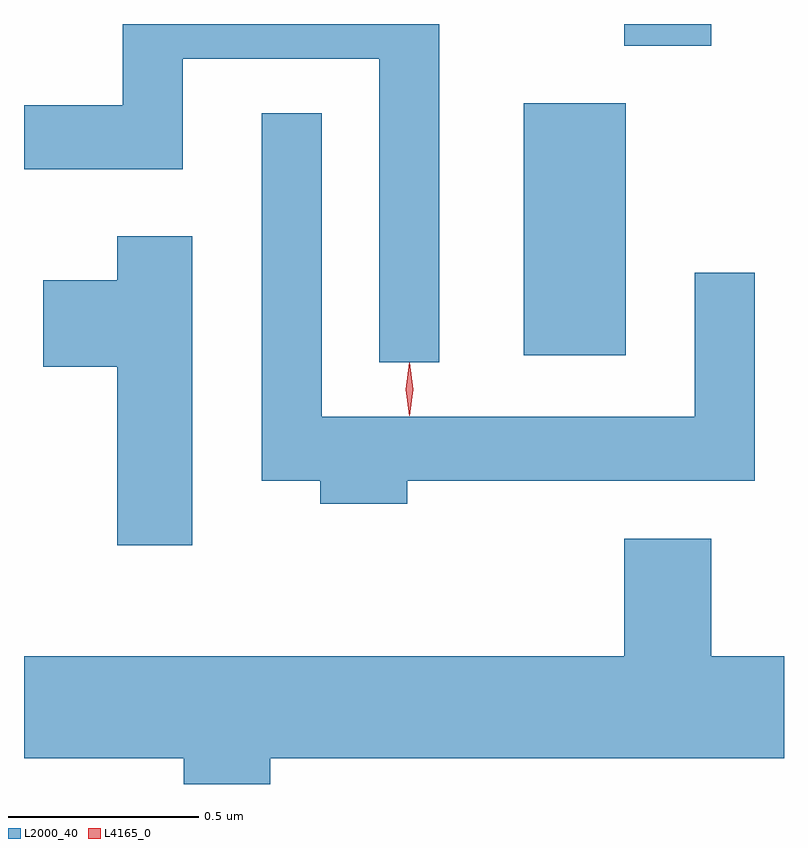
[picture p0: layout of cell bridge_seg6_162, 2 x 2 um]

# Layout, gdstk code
import gdstk
lib = gdstk.Library(unit=1e-6, precision=1e-09)
def R(c, l, rs):  # rectangles x0, y0, x1, y1
    for r in rs: c.add(gdstk.rectangle(r[:2], r[2:], *l))
def P(c, l, *ps):  # polygons
    for p in ps: c.add(gdstk.Polygon(p, *l))
L2000_40 = (2000, 40)
L4165_0 = (4165, 0)

bridge_seg6_162 = lib.new_cell('bridge_seg6_162')
R(bridge_seg6_162, L2000_40, [(1127.306,1566.636,1127.574,1567.299), (1127.571,1567.451,1127.799,1567.508)])
P(bridge_seg6_162, L2000_40, [(1127.084,1567.508),(1126.251,1567.508),(1126.251,1567.294),(1125.991,1567.294),(1125.991,1567.126),(1126.409,1567.126),(1126.409,1567.416),(1126.926,1567.416),(1126.926,1566.618),(1127.084,1566.618)],
  [(1126.999,1566.306),(1127.914,1566.306),(1127.914,1566.853),(1127.756,1566.853),(1127.756,1566.474),(1126.774,1566.474),(1126.774,1567.273),(1126.616,1567.273),(1126.616,1566.306),(1126.771,1566.306),(1126.771,1566.246),(1126.999,1566.246)],
  [(1126.434,1566.949),(1126.236,1566.949),(1126.236,1566.834),(1126.041,1566.834),(1126.041,1566.606),(1126.236,1566.606),(1126.236,1566.136),(1126.434,1566.136)],
  [(1126.639,1565.576),(1127.991,1565.576),(1127.991,1565.844),(1127.799,1565.844),(1127.799,1566.154),(1127.571,1566.154),(1127.571,1565.844),(1125.991,1565.844),(1125.991,1565.576),(1126.411,1565.576),(1126.411,1565.508),(1126.639,1565.508)])
P(bridge_seg6_162, L4165_0, [(1127.005,1566.48),(1127.005,1566.48),(1126.995,1566.546),(1127.005,1566.612),(1127.005,1566.613),(1127.006,1566.612),(1127.015,1566.546),(1127.006,1566.48)],
  [(1127.005,1566.477),(1127.005,1566.477),(1126.995,1566.547),(1127.005,1566.616),(1127.005,1566.616),(1127.006,1566.616),(1127.015,1566.547),(1127.006,1566.477)])

lib.write_gds('bridge_seg6_162.gds')
